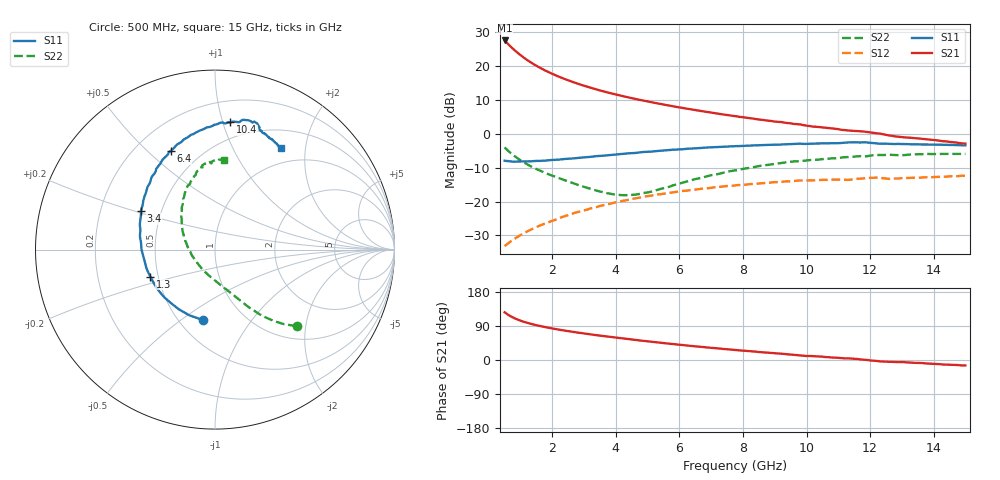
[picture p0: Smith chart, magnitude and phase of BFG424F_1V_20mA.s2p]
! Filename BFG424F_1V_20mA.prm
! Simulation_Values
! Created	by	janssen	on	nov	2006
!	Column ranking S11, S21,S12,S22 both magnitude and phase.
!	VCE	=	1	V,	IC	=	20	mA
!	Common	Emitter	S-Parameters
#	GHZ	S	MA	R	50
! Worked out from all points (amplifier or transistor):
!   146 points, 500 MHz to 15 GHz, reference 50 ohm
!   highest |S21| = 27.4 dB at 500 MHz (marker M1)
!   |S21| within 3 dB of that: start of sweep to 829.4 MHz
!   unconditionally stable (mu >= 1): 1.434 GHz to end of sweep
!   at 2.9 GHz: K = 1.19, MAG = 16.0 dB, |S12| = -22.9 dB
!   at 7.8 GHz: K = 1.17, MAG = 7.6 dB, |S12| = -15.2 dB
!   at 15 GHz: K = 1.55, MAG = 0.4 dB, |S12| = -12.5 dB
!   S11 on the Smith chart (normalised r, x): 500 MHz: 0.65, -0.60; 1.3 GHz: 0.45, -0.16; 3.4 GHz: 0.38, +0.21; 6.4 GHz: 0.34, +0.59; 10.4 GHz: 0.37, +1.06; 15 GHz: 0.76, +1.56
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0.5  0.398 -100.0  23.49 126.0  0.022 61.9  0.624 -43.1
0.6  0.393 -111.4  21 119.9  0.024 59.8  0.564 -47.4
0.7  0.389 -121.2  18.89 114.9  0.026 59.4  0.513 -50.6
0.8  0.386 -129.5  17.09 110.7  0.028 59.2  0.471 -53.3
0.9  0.388 -136.6  15.58 107.1  0.03 59.0  0.435 -55.6
1  0.388 -142.6  14.29 103.8  0.032 59.4  0.404 -57.4
1.1  0.389 -148.0  13.16 100.9  0.034 59.7  0.378 -59.2
1.3  0.39 -157.2  11.35 96.0  0.038 60.6  0.334 -62.2
1.6  0.396 -168.2  9.376 89.9  0.044 61.8  0.287 -66.5
1.8  0.401 -174.5  8.382 86.4  0.048 62.4  0.261 -69.3
2  0.409 -179.7  7.579 83.2  0.052 62.9  0.24 -72.3
2.5  0.426 168.9  6.078 76.2  0.063 63.4  0.198 -81.6
3  0.446 159.2  5.061 70.0  0.074 62.8  0.164 -93.6
3.4  0.466 152.3  4.453 65.4  0.083 61.9  0.144 -105.8
4.2  0.501 139.9  3.571 57.0  0.102 59.6  0.124 -138.4
5.4  0.559 125.0  2.737 45.5  0.128 54.4  0.153 174.4
6.4  0.602 114.2  2.257 37.0  0.148 50.1  0.208 150.3
7.8  0.654 101.6  1.795 26.4  0.174 43.6  0.289 129.7
10.2  0.711 84.3  1.266 10.2  0.205 32.0  0.409 108.0
10.4  0.714 83.1  1.247 9.6  0.207 31.4  0.415 107.2
12.6  0.707 68.5  0.937 -4.7  0.215 22.7  0.488 93.7
15  0.672 57.1  0.713 -14.4  0.238 15.9  0.502 84.1
